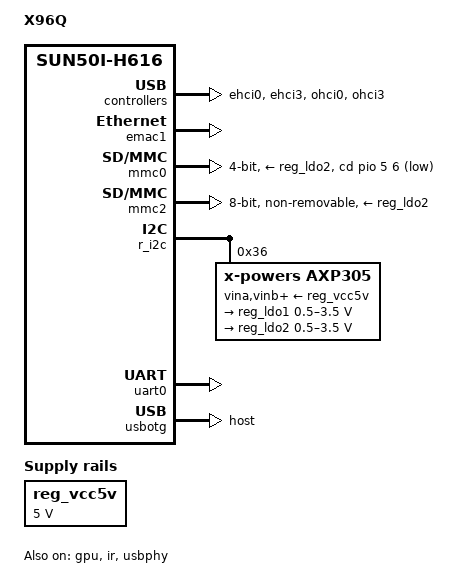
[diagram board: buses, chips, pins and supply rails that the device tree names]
// SPDX-License-Identifier: (GPL-2.0+ OR MIT)
/*
 * Copyright (C) 2021 Arm Ltd.
 * Copyright (C) 2025 J. Neuschäfer
 */

/dts-v1/;

#include "sun50i-h616.dtsi"
#include "sun50i-h616-cpu-opp.dtsi"

#include <dt-bindings/gpio/gpio.h>
#include <dt-bindings/interrupt-controller/arm-gic.h>

/ {
	model = "X96Q";
	compatible = "amediatech,x96q", "allwinner,sun50i-h616";

	aliases {
		eth0 = &emac1;
		i2c0 = &r_i2c;
		mmc0 = &mmc0;
		mmc1 = &mmc1;
		mmc2 = &mmc2;
		serial0 = &uart0;
	};

	chosen {
		stdout-path = "serial0:115200n8";
	};

	reg_vcc5v: vcc5v {
		/* board wide 5V supply directly from the DC input */
		compatible = "regulator-fixed";
		regulator-name = "vcc-5v";
		regulator-min-microvolt = <5000000>;
		regulator-max-microvolt = <5000000>;
		regulator-always-on;
	};
};

/*&codec {
	allwinner,audio-routing = "Line Out", "LINEOUT";
	status = "okay";
};*/

&cpu0 {
	//cpu-supply = <&reg_dcdca>;
};

&ehci0 {
	status = "okay";
};

&ehci3 {
	status = "okay";
};

&emac1 {
	status = "okay";
};

&gpu {
	//mali-supply = <&reg_dcdcc>;
	status = "okay";
};

&ir {
	status = "okay";
};

/* µSD */
&mmc0 {
	vmmc-supply = <&reg_ldo2>;
	max-frequency = <150000000>;
	cd-gpios = <&pio 5 6 GPIO_ACTIVE_LOW>;	/* PF6 */
	disable-wp;
	bus-width = <4>;
	status = "okay";
};

/* eMMC */
&mmc2 {
	vmmc-supply = <&reg_ldo2>;
	vqmmc-supply = <&reg_ldo1>;
	bus-width = <8>;
	non-removable;
	cap-mmc-hw-reset;
	mmc-ddr-1_8v;
	mmc-hs200-1_8v;
	max-frequency = <100000000>;
	status = "okay";
};

/* right USB port */
&ohci0 {
	status = "okay";
};

/* left USB port */
&ohci3 {
	status = "okay";
};

&r_i2c {
	status = "okay";

	axp305: pmic@36 {
		compatible = "x-powers,axp305", "x-powers,axp805",
			     "x-powers,axp806";
		interrupt-controller;
		#interrupt-cells = <1>;
		reg = <0x36>;

		x-powers,self-working-mode;
		vina-supply = <&reg_vcc5v>;
		vinb-supply = <&reg_vcc5v>;
		vinc-supply = <&reg_vcc5v>;
		vind-supply = <&reg_vcc5v>;
		vine-supply = <&reg_vcc5v>;
		aldoin-supply = <&reg_vcc5v>;
		bldoin-supply = <&reg_vcc5v>;
		cldoin-supply = <&reg_vcc5v>;

		regulators {
			bldo3 {
				/* unused */
			};

			bldo4 {
				/* unused */
			};

			cldo1 {
				/* unused */
			};

			cldo2 {
				/* unused */
			};

			cldo3 {
				/* unused */
			};

			sw {
				/* unused */
			};

			reg_ldo1: ldo1 {
				regulator-always-on;
				regulator-min-microvolt = <500000>;
				regulator-max-microvolt = <3500000>;
			};

			reg_ldo2: ldo2 {
				regulator-always-on;
				regulator-min-microvolt = <500000>;
				regulator-max-microvolt = <3500000>;
			};
		};
	};
};

&uart0 {
	pinctrl-names = "default";
	pinctrl-0 = <&uart0_ph_pins>;
	status = "okay";
};

&usbotg {
	dr_mode = "host";	/* USB A type receptacle */
	status = "okay";
};

&usbphy {
	status = "okay";
};
